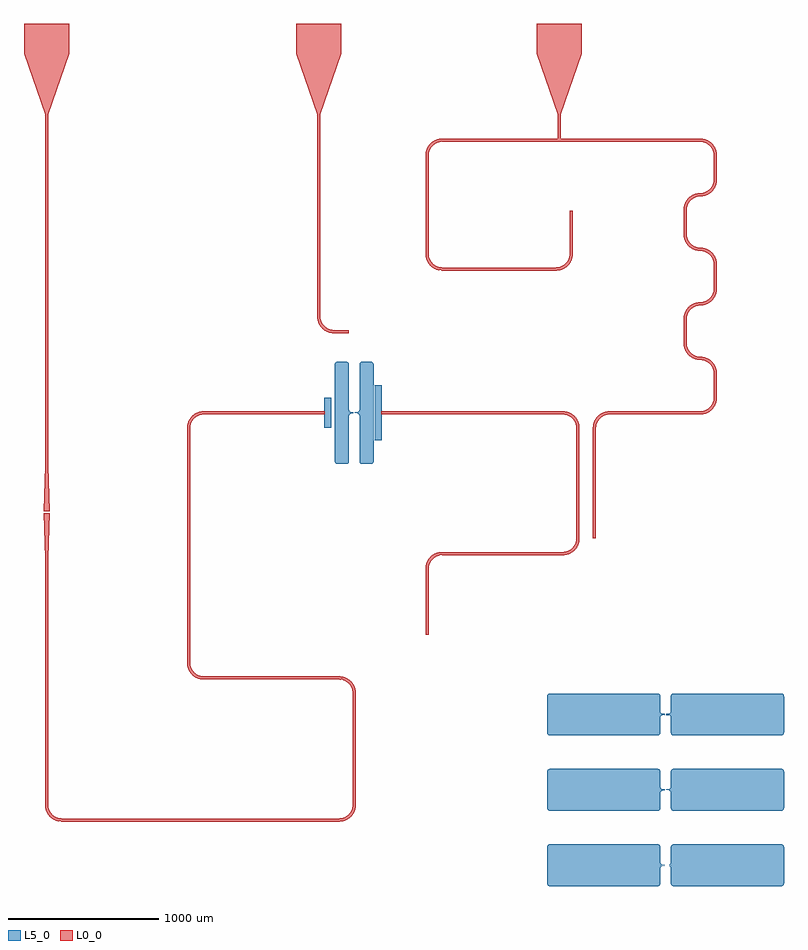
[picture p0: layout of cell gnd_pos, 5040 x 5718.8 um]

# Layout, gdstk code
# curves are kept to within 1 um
import gdstk
lib = gdstk.Library(unit=1e-6, precision=1e-09)
def R(c, l, rs):  # rectangles x0, y0, x1, y1
    for r in rs: c.add(gdstk.rectangle(r[:2], r[2:], *l))
def A(c, l, x, y, w, h, nx, ny, dx, dy):  # array of equal rectangles
    R(c, l, [(x+i*dx, y+j*dy, x+i*dx+w, y+j*dy+h) for i in range(nx) for j in range(ny)])
def P(c, l, *ps):  # polygons
    for p in ps: c.add(gdstk.Polygon(p, *l))
L0_0 = (0, 0)
L5_0 = (5, 0)

gnd_pos = lib.new_cell('gnd_pos')
A(gnd_pos, L0_0, 6119.612, 3600, 20, 161.6, 1, 3, 0, 723.2)
R(gnd_pos, L0_0, [(1795,790,3635,810), (1685,900,1705,2534.902), (3725,900,3745,1641.9), (2736.9,1731.9,3635,1751.9), (2626.9,1841.9,2646.9,3400), (4208.1,2027.239,4228.1,2051.239), (4208.1,2051.239,4228.1,2467), (4318.1,2557,5118.1,2577), (5208.1,2667,5228.1,3400), (5318.1,2667,5338.1,3400), (1685,3147.902,1705,5308), (2736.9,3490,3539.9,3510), (3915.1,3490,5118.1,3510), (5428.1,3490,6029.612,3510), (5919.612,3961.6,5939.612,4123.2), (3600,4028.8,3700,4048.8), (3490,4138.8,3510,5480), (4318.1,4444,5073.856,4464), (4208.1,4554,4228.1,5208), (5163.856,4554,5183.856,4841.105), (5919.612,4684.8,5939.612,4846.4), (4318.1,5298,5095,5318), (5095,5298,6029.612,5318), (1685,5308,1705,5480), (5085,5308,5105,5480), (1545,5880,1845,6080), (3350,5880,3650,6080), (4945,5880,5245,6080)])
P(gnd_pos, L0_0, [(3490,5480),(3350,5880),(3650,5880),(3510,5480)],
  [(3600,4028.8),(3579.271,4030.771),(3559.285,4036.613),(3538.269,4047.754),(3522.218,4061.018),(3508.954,4077.069),(3497.813,4098.085),(3491.971,4118.071),(3490,4138.8),(3510,4138.8),(3511.186,4124.24),(3514.711,4110.063),(3520.484,4096.643),(3529.853,4082.414),(3543.614,4068.653),(3560.012,4058.171),(3578.28,4051.46),(3600,4048.8)],
  [(2626.9,3400),(2628.871,3420.729),(2634.713,3440.715),(2645.854,3461.731),(2659.118,3477.782),(2675.169,3491.046),(2696.185,3502.187),(2716.171,3508.029),(2736.9,3510),(2736.9,3490),(2722.34,3488.814),(2708.163,3485.289),(2694.743,3479.516),(2680.514,3470.147),(2666.753,3456.386),(2656.271,3439.988),(2649.56,3421.72),(2646.9,3400)],
  [(2736.9,1731.9),(2716.171,1733.871),(2696.185,1739.713),(2675.169,1750.854),(2659.118,1764.118),(2645.854,1780.169),(2634.713,1801.185),(2628.871,1821.171),(2626.9,1841.9),(2646.9,1841.9),(2648.086,1827.34),(2651.611,1813.163),(2657.384,1799.743),(2666.753,1785.514),(2680.514,1771.753),(2696.912,1761.271),(2715.18,1754.56),(2736.9,1751.9)],
  [(3725,1641.9),(3723.814,1656.46),(3720.289,1670.637),(3714.516,1684.057),(3705.147,1698.286),(3691.386,1712.047),(3674.988,1722.529),(3656.72,1729.24),(3635,1731.9),(3635,1751.9),(3661.547,1748.649),(3683.874,1740.446),(3703.916,1727.635),(3720.735,1710.816),(3730.755,1696.038),(3738.253,1679.833),(3743.029,1662.629),(3744.839,1647.855),(3745,1641.9)],
  [(3635,790),(3635,810),(3649.56,811.186),(3663.737,814.711),(3677.157,820.484),(3691.386,829.853),(3705.147,843.614),(3715.629,860.012),(3722.34,878.28),(3725,900),(3745,900),(3743.029,879.271),(3737.187,859.285),(3726.046,838.269),(3712.782,822.218),(3696.731,808.954),(3675.715,797.813),(3655.729,791.971)],
  [(1795,790),(1774.271,791.971),(1754.285,797.813),(1733.269,808.954),(1717.218,822.218),(1703.954,838.269),(1692.813,859.285),(1686.971,879.271),(1685,900),(1705,900),(1706.186,885.44),(1709.711,871.263),(1715.484,857.843),(1724.853,843.614),(1738.614,829.853),(1755.012,819.371),(1773.28,812.66),(1795,810)],
  [(1685,2534.902),(1675,2834.902),(1715,2834.902),(1705,2534.902)],
  [(1685,5480),(1545,5880),(1845,5880),(1705,5480)],
  [(1675,2847.902),(1685,3147.902),(1705,3147.902),(1715,2847.902)],
  [(5208.1,3400),(5206.914,3414.56),(5203.389,3428.737),(5197.616,3442.157),(5188.247,3456.386),(5174.486,3470.147),(5158.088,3480.629),(5139.82,3487.34),(5118.1,3490),(5118.1,3510),(5144.647,3506.749),(5166.974,3498.546),(5187.016,3485.735),(5203.835,3468.916),(5213.855,3454.138),(5221.353,3437.933),(5226.129,3420.729),(5227.939,3405.955),(5228.1,3400)],
  [(5118.1,2557),(5118.1,2577),(5132.66,2578.186),(5146.837,2581.711),(5160.257,2587.484),(5174.486,2596.853),(5188.247,2610.614),(5198.729,2627.012),(5205.44,2645.28),(5208.1,2667),(5228.1,2667),(5226.129,2646.271),(5220.287,2626.285),(5209.146,2605.269),(5195.882,2589.218),(5179.831,2575.954),(5158.815,2564.813),(5138.829,2558.971)],
  [(4208.1,2467),(4210.071,2487.729),(4215.913,2507.715),(4227.054,2528.731),(4240.318,2544.782),(4256.369,2558.046),(4277.385,2569.187),(4297.371,2575.029),(4318.1,2577),(4318.1,2557),(4303.54,2555.814),(4289.363,2552.289),(4275.943,2546.516),(4261.714,2537.147),(4247.953,2523.386),(4237.471,2506.988),(4230.76,2488.72),(4228.1,2467)],
  [(5085,5480),(4945,5880),(5245,5880),(5105,5480)],
  [(5318.1,3400),(5320.071,3420.729),(5325.913,3440.715),(5337.054,3461.731),(5350.318,3477.782),(5366.369,3491.046),(5387.385,3502.187),(5407.371,3508.029),(5428.1,3510),(5428.1,3490),(5413.54,3488.814),(5399.363,3485.289),(5385.943,3479.516),(5371.714,3470.147),(5357.953,3456.386),(5347.471,3439.988),(5340.76,3421.72),(5338.1,3400)],
  [(6029.612,3490),(6029.612,3510),(6044.172,3511.186),(6058.349,3514.711),(6071.769,3520.484),(6085.998,3529.853),(6099.759,3543.614),(6110.241,3560.012),(6116.952,3578.28),(6119.612,3600),(6139.612,3600),(6137.641,3579.271),(6131.799,3559.285),(6120.658,3538.269),(6107.394,3522.218),(6091.343,3508.954),(6070.327,3497.813),(6050.341,3491.971)],
  [(6119.612,3761.6),(6118.426,3776.16),(6114.901,3790.337),(6109.128,3803.757),(6099.759,3817.986),(6085.998,3831.747),(6069.6,3842.229),(6051.332,3848.94),(6029.612,3851.6),(6029.612,3871.6),(6056.159,3868.349),(6078.486,3860.146),(6098.528,3847.335),(6115.347,3830.516),(6125.367,3815.738),(6132.865,3799.533),(6137.641,3782.329),(6139.451,3767.555),(6139.612,3761.6)],
  [(6029.612,3851.6),(6008.883,3853.571),(5988.897,3859.413),(5967.881,3870.554),(5951.83,3883.818),(5938.566,3899.869),(5927.425,3920.885),(5921.583,3940.871),(5919.612,3961.6),(5939.612,3961.6),(5940.798,3947.04),(5944.323,3932.863),(5950.096,3919.443),(5959.465,3905.214),(5973.226,3891.453),(5989.624,3880.971),(6007.892,3874.26),(6029.612,3871.6)],
  [(5919.612,4123.2),(5921.583,4143.929),(5927.425,4163.915),(5938.566,4184.931),(5951.83,4200.982),(5967.881,4214.246),(5988.897,4225.387),(6008.883,4231.229),(6029.612,4233.2),(6029.612,4213.2),(6015.052,4212.014),(6000.875,4208.489),(5987.455,4202.716),(5973.226,4193.347),(5959.465,4179.586),(5947.93,4160.99),(5941.716,4142.547),(5939.612,4123.2)],
  [(6029.612,4213.2),(6029.612,4233.2),(6044.172,4234.386),(6058.349,4237.911),(6071.769,4243.684),(6085.998,4253.053),(6099.759,4266.814),(6110.241,4283.212),(6116.952,4301.48),(6119.612,4323.2),(6139.612,4323.2),(6137.641,4302.471),(6131.799,4282.485),(6120.658,4261.469),(6107.394,4245.418),(6091.343,4232.154),(6070.327,4221.013),(6050.341,4215.171)],
  [(6119.612,4484.8),(6118.426,4499.36),(6114.901,4513.537),(6109.128,4526.957),(6099.759,4541.186),(6085.998,4554.947),(6069.6,4565.429),(6051.332,4572.14),(6029.612,4574.8),(6029.612,4594.8),(6056.159,4591.549),(6078.486,4583.346),(6098.528,4570.535),(6115.347,4553.716),(6125.367,4538.938),(6132.865,4522.733),(6137.641,4505.529),(6139.451,4490.755),(6139.612,4484.8)],
  [(6029.612,4574.8),(6008.883,4576.771),(5988.897,4582.613),(5967.881,4593.754),(5951.83,4607.018),(5938.566,4623.069),(5927.425,4644.085),(5921.583,4664.071),(5919.612,4684.8),(5939.612,4684.8),(5940.798,4670.24),(5944.323,4656.063),(5950.096,4642.643),(5959.465,4628.414),(5973.226,4614.653),(5989.624,4604.171),(6007.892,4597.46),(6029.612,4594.8)],
  [(5919.612,4846.4),(5921.583,4867.129),(5927.425,4887.115),(5938.566,4908.131),(5951.83,4924.182),(5967.881,4937.446),(5988.897,4948.587),(6008.883,4954.429),(6029.612,4956.4),(6029.612,4936.4),(6015.052,4935.214),(6000.875,4931.689),(5987.455,4925.916),(5973.226,4916.547),(5959.465,4902.786),(5947.93,4884.19),(5941.716,4865.747),(5939.612,4846.4)],
  [(6029.612,4936.4),(6029.612,4956.4),(6044.172,4957.586),(6058.349,4961.111),(6071.769,4966.884),(6085.998,4976.253),(6099.759,4990.014),(6110.241,5006.412),(6116.952,5024.68),(6119.612,5046.4),(6139.612,5046.4),(6137.641,5025.671),(6131.799,5005.685),(6120.658,4984.669),(6107.394,4968.618),(6091.343,4955.354),(6070.327,4944.213),(6050.341,4938.371)],
  [(6119.612,5208),(6118.426,5222.56),(6114.901,5236.737),(6109.128,5250.157),(6099.759,5264.386),(6085.998,5278.147),(6069.6,5288.629),(6051.332,5295.34),(6029.612,5298),(6029.612,5318),(6056.159,5314.749),(6078.486,5306.546),(6098.528,5293.735),(6115.347,5276.916),(6125.367,5262.138),(6132.865,5245.933),(6137.641,5228.729),(6139.451,5213.955),(6139.612,5208)],
  [(4208.1,5208),(4210.071,5228.729),(4215.913,5248.715),(4227.054,5269.731),(4240.318,5285.782),(4256.369,5299.046),(4277.385,5310.187),(4297.371,5316.029),(4318.1,5318),(4318.1,5298),(4303.54,5296.814),(4289.363,5293.289),(4275.943,5287.516),(4261.714,5278.147),(4247.953,5264.386),(4237.471,5247.988),(4230.76,5229.72),(4228.1,5208)],
  [(4318.1,4444),(4297.371,4445.971),(4277.385,4451.813),(4256.369,4462.954),(4240.318,4476.218),(4227.054,4492.269),(4215.913,4513.285),(4210.071,4533.271),(4208.1,4554),(4228.1,4554),(4229.286,4539.44),(4232.811,4525.263),(4238.584,4511.843),(4247.953,4497.614),(4261.714,4483.853),(4278.112,4473.371),(4296.38,4466.66),(4318.1,4464)],
  [(5073.856,4444),(5073.856,4464),(5088.416,4465.186),(5102.593,4468.711),(5116.013,4474.484),(5130.242,4483.853),(5144.003,4497.614),(5154.485,4514.012),(5161.196,4532.28),(5163.856,4554),(5183.856,4554),(5181.885,4533.271),(5176.043,4513.285),(5164.902,4492.269),(5151.638,4476.218),(5135.587,4462.954),(5114.571,4451.813),(5094.585,4445.971)])
R(gnd_pos, L5_0, [(3871.1,3317.5,3918.1,3682.5), (3536.9,3400,3583.9,3600)])
P(gnd_pos, L5_0, [(3626.4,3161.2),(3619.454,3162.445),(3612.621,3166.704),(3608.444,3172.392),(3606.426,3180.187),(3606.503,3820.823),(3611.225,3831.827),(3621.387,3838.162),(3682.023,3838.697),(3688.808,3836.756),(3694.496,3832.579),(3698.379,3826.687),(3699.974,3819.813),(3700.17,3516.474),(3703.076,3509.702),(3708.903,3505.191),(3730,3504),(3730,3502),(3706,3502),(3706,3503.2),(3702,3503.2),(3702,3496.8),(3706,3496.8),(3706,3498),(3730,3498),(3730,3496),(3708.903,3494.809),(3702.635,3489.698),(3700.075,3482.787),(3699.083,3175.213),(3693.779,3166.704),(3684.026,3161.609)],
  [(3790,3161.2),(3783.054,3162.445),(3776.221,3166.704),(3772.044,3172.392),(3770.026,3180.187),(3769.83,3483.526),(3766.924,3490.298),(3761.097,3494.809),(3740,3496),(3740,3498),(3764,3498),(3764,3496.8),(3768,3496.8),(3768,3503.2),(3764,3503.2),(3764,3502),(3740,3502),(3740,3504),(3761.097,3505.191),(3767.365,3510.302),(3769.925,3517.213),(3770.917,3824.787),(3776.221,3833.296),(3785.974,3838.391),(3845.623,3838.697),(3852.408,3836.756),(3858.096,3832.579),(3861.979,3826.687),(3863.574,3819.813),(3863.497,3179.177),(3858.775,3168.173),(3848.613,3161.838)],
  [(5855,361.2),(5848.054,362.445),(5841.973,366.025),(5837.513,371.494),(5835.231,378.171),(5834.085,486.405),(5830.428,491.954),(5824.701,495.326),(5805,496),(5805,498),(5829,498),(5829,496.8),(5833,496.8),(5833,503.2),(5829,503.2),(5829,502),(5805,502),(5805,504),(5825.405,504.915),(5830.954,508.572),(5834.326,514.299),(5835.103,620.823),(5839.184,631.042),(5848.054,637.555),(5855,638.8),(6565,638.8),(6576.425,635.215),(6583.755,625.746),(6585,618.8),(6584.974,380.187),(6580.816,368.958),(6571.946,362.445),(6565,361.2)],
  [(5035,361.2),(5028.054,362.445),(5021.221,366.704),(5016.621,373.313),(5015,381.2),(5015.026,619.813),(5019.184,631.042),(5028.054,637.555),(5035,638.8),(5745,638.8),(5756.425,635.215),(5763.755,625.746),(5765,618.8),(5765.469,515.015),(5768.546,509.125),(5774.595,504.915),(5795,504),(5795,502),(5771,502),(5771,503.2),(5767,503.2),(5767,496.8),(5771,496.8),(5771,498),(5795,498),(5795,496),(5774.595,495.085),(5769.046,491.428),(5765.674,485.701),(5764.897,379.177),(5760.816,368.958),(5751.946,362.445),(5745,361.2)],
  [(5855,861.2),(5848.054,862.445),(5841.973,866.025),(5837.513,871.494),(5835.231,878.171),(5834.085,986.405),(5830.428,991.954),(5824.701,995.326),(5805,996),(5805,998),(5829,998),(5829,996.8),(5833,996.8),(5833,1003.2),(5829,1003.2),(5829,1002),(5805,1002),(5805,1004),(5825.405,1004.915),(5830.954,1008.572),(5834.326,1014.299),(5835.103,1120.823),(5839.184,1131.042),(5848.054,1137.555),(5855,1138.8),(6565,1138.8),(6576.425,1135.215),(6583.755,1125.746),(6585,1118.8),(6584.974,880.187),(6580.816,868.958),(6571.946,862.445),(6565,861.2)],
  [(5035,861.2),(5028.054,862.445),(5021.221,866.704),(5016.621,873.313),(5015,881.2),(5015.026,1119.813),(5019.184,1131.042),(5028.054,1137.555),(5035,1138.8),(5745,1138.8),(5756.425,1135.215),(5763.755,1125.746),(5765,1118.8),(5765.469,1015.015),(5768.546,1009.125),(5774.595,1004.915),(5795,1004),(5795,1002),(5771,1002),(5771,1003.2),(5767,1003.2),(5767,996.8),(5771,996.8),(5771,998),(5795,998),(5795,996),(5774.595,995.085),(5769.046,991.428),(5765.674,985.701),(5764.897,879.177),(5760.816,868.958),(5751.946,862.445),(5745,861.2)],
  [(5855,1361.2),(5848.054,1362.445),(5841.973,1366.025),(5837.513,1371.494),(5835.231,1378.171),(5834.085,1486.405),(5830.428,1491.954),(5824.701,1495.326),(5805,1496),(5805,1498),(5829,1498),(5829,1496.8),(5833,1496.8),(5833,1503.2),(5829,1503.2),(5829,1502),(5805,1502),(5805,1504),(5825.405,1504.915),(5830.954,1508.572),(5834.326,1514.299),(5835.103,1620.823),(5839.184,1631.042),(5848.054,1637.555),(5855,1638.8),(6565,1638.8),(6576.425,1635.215),(6583.755,1625.746),(6585,1618.8),(6584.974,1380.187),(6580.816,1368.958),(6571.946,1362.445),(6565,1361.2)],
  [(5035,1361.2),(5028.054,1362.445),(5021.221,1366.704),(5016.621,1373.313),(5015,1381.2),(5015.026,1619.813),(5019.184,1631.042),(5028.054,1637.555),(5035,1638.8),(5745,1638.8),(5756.425,1635.215),(5763.755,1625.746),(5765,1618.8),(5765.469,1515.015),(5768.546,1509.125),(5774.595,1504.915),(5795,1504),(5795,1502),(5771,1502),(5771,1503.2),(5767,1503.2),(5767,1496.8),(5771,1496.8),(5771,1498),(5795,1498),(5795,1496),(5774.595,1495.085),(5769.046,1491.428),(5765.674,1485.701),(5764.897,1379.177),(5760.816,1368.958),(5751.946,1362.445),(5745,1361.2)])

lib.write_gds('gnd_pos.gds')
